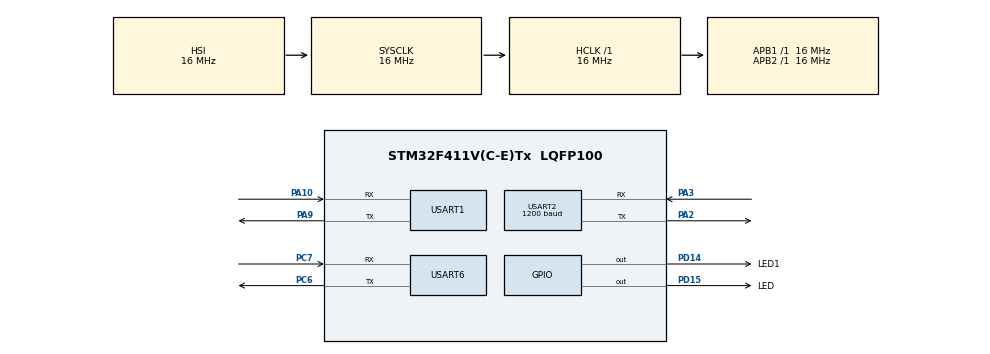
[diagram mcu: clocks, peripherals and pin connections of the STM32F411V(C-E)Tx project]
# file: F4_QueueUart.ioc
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Mcu.Family=STM32F4
Mcu.Name=STM32F411V(C-E)Tx
Mcu.Package=LQFP100
NVIC.PriorityGroup=NVIC_PRIORITYGROUP_4
NVIC.TIM5_IRQn=true\:0\:0\:false\:false\:true\:false\:true
NVIC.TimeBase=TIM5_IRQn
NVIC.TimeBaseIP=TIM5
NVIC.USART1_IRQn=true\:6\:0\:true\:false\:true\:true\:true
NVIC.USART6_IRQn=true\:7\:0\:true\:false\:true\:true\:true
PA10.Mode=Asynchronous
PA10.Signal=USART1_RX
PA13.Mode=Serial_Wire
PA13.Signal=SYS_JTMS-SWDIO
PA14.Mode=Serial_Wire
PA14.Signal=SYS_JTCK-SWCLK
PA2.Mode=Asynchronous
PA2.Signal=USART2_TX
PA3.Mode=Asynchronous
PA3.Signal=USART2_RX
PA9.Mode=Asynchronous
PA9.Signal=USART1_TX
PC6.Mode=Asynchronous
PC6.Signal=USART6_TX
PC7.Mode=Asynchronous
PC7.Signal=USART6_RX
PD14.GPIO_Label=LED1
PD14.Signal=GPIO_Output
PD15.GPIO_Label=LED
PD15.GPIO_PuPd=GPIO_PULLUP
PD15.Signal=GPIO_Output
ProjectManager.HeapSize=0x200
ProjectManager.StackSize=0x400
ProjectManager.TargetToolchain=STM32CubeIDE
RCC.AHBFreq_Value=16000000
RCC.APB1Freq_Value=16000000
RCC.APB2Freq_Value=16000000
RCC.CortexFreq_Value=16000000
RCC.HSE_VALUE=25000000
RCC.HSI_VALUE=16000000
RCC.LSE_VALUE=32768
RCC.SYSCLKFreq_VALUE=16000000
RCC.VCOOutputFreq_Value=192000000
USART1.VirtualMode=VM_ASYNC
USART2.BaudRate=1200
USART2.VirtualMode=VM_ASYNC
USART6.VirtualMode=VM_ASYNC
VP_SYS_VS_tim5.Mode=TIM5
board=custom

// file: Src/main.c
/* USER CODE BEGIN Header */
/**
 ******************************************************************************
 * @file           : main.c
 * @brief          : Main program body
 ******************************************************************************
 * @attention
 *
 * <h2><center>&copy; Copyright (c) 2023 STMicroelectronics.
 * All rights reserved.</center></h2>
 *
 * This software component is licensed by ST under BSD 3-Clause license,
 * the "License"; You may not use this file except in compliance with the
 * License. You may obtain a copy of the License at:
 *                        opensource.org/licenses/BSD-3-Clause
 *
 ******************************************************************************
 */
/* USER CODE END Header */

#include "main.h"

UART_HandleTypeDef huart1;
UART_HandleTypeDef huart2;
UART_HandleTypeDef huart6;

/* USER CODE BEGIN PV */

xTaskHandle handle_print_task;
xTaskHandle handle_led_task;
xTaskHandle handle_receive_uart1;
xTaskHandle handle_receive_uart6;
xTaskHandle toggleled;

QueueHandle_t queue_print;
SemaphoreHandle_t xsemaphore_led;
SemaphoreHandle_t xsemaphore_uart1;
SemaphoreHandle_t xsemaphore_uart6;
// #define size 50

uint8_t data[50];

uint8_t data_byte1;
uint8_t data_byte6;

// uint32_t count_size6 = 0;
// uint32_t count_size1 = 0;

/* USER CODE END PV */

void SystemClock_Config(void);
static void MX_GPIO_Init(void);
static void MX_USART1_UART_Init(void);
static void MX_USART2_UART_Init(void);
static void MX_USART6_UART_Init(void);

int main(void)
{
  /* USER CODE BEGIN 1 */
  BaseType_t status;
  /* USER CODE END 1 */

  /* MCU Configuration--------------------------------------------------------*/

  /* Reset of all peripherals, Initializes the Flash interface and the Systick. */
  HAL_Init();

  /* Configure the system clock */
  SystemClock_Config();

  /* Initialize all configured peripherals */
  MX_GPIO_Init();
  MX_USART1_UART_Init();
  MX_USART2_UART_Init();
  MX_USART6_UART_Init();
  /* USER CODE BEGIN 2 */
  status = xTaskCreate(toggle_led, "toggleled", 100, NULL, 1, &toggleled);
  configASSERT(status == pdPASS);

  status = xTaskCreate(print_task, "print_task", 400, NULL, 2, &handle_print_task);

  configASSERT(status == pdPASS);

  status = xTaskCreate(led_task, "led-task", 200, NULL, 3, &handle_led_task);
  queue_print = xQueueCreate(20, sizeof(data));
  configASSERT(queue_print != NULL);

  status = xTaskCreate(receive_uart1, "receive_uart1", 400, NULL, 4, &handle_receive_uart1);
  configASSERT(status == pdPASS);

  status = xTaskCreate(receive_uart6, "receive_uart6", 400, NULL, 4, &handle_receive_uart6);
  configASSERT(status == pdPASS);

  xsemaphore_led = xSemaphoreCreateBinary();
  xsemaphore_uart1 = xSemaphoreCreateBinary();
  xsemaphore_uart6 = xSemaphoreCreateBinary();

  // run scheduler

  // memset(data6,0,sizeof(data6));
  HAL_UART_Receive_IT(&huart1, &data_byte1, 1);
  HAL_UART_Receive_IT(&huart6, &data_byte6, 1);

  xSemaphoreTake(xsemaphore_led, portMAX_DELAY);
  xSemaphoreTake(xsemaphore_uart1, portMAX_DELAY);
  xSemaphoreTake(xsemaphore_uart6, portMAX_DELAY);

  vTaskStartScheduler();
  /* USER CODE END 2 */

  /* Infinite loop */
  while (1)
  {

  }
}

void SystemClock_Config(void)
{
  RCC_OscInitTypeDef RCC_OscInitStruct = {0};
  RCC_ClkInitTypeDef RCC_ClkInitStruct = {0};

  /** Configure the main internal regulator output voltage
   */
  __HAL_RCC_PWR_CLK_ENABLE();
  __HAL_PWR_VOLTAGESCALING_CONFIG(PWR_REGULATOR_VOLTAGE_SCALE1);
  /** Initializes the CPU, AHB and APB busses clocks
   */
  RCC_OscInitStruct.OscillatorType = RCC_OSCILLATORTYPE_HSI;
  RCC_OscInitStruct.HSIState = RCC_HSI_ON;
  RCC_OscInitStruct.HSICalibrationValue = RCC_HSICALIBRATION_DEFAULT;
  RCC_OscInitStruct.PLL.PLLState = RCC_PLL_NONE;
  if (HAL_RCC_OscConfig(&RCC_OscInitStruct) != HAL_OK)
  {
    Error_Handler();
  }
  /** Initializes the CPU, AHB and APB busses clocks
   */
  RCC_ClkInitStruct.ClockType = RCC_CLOCKTYPE_HCLK | RCC_CLOCKTYPE_SYSCLK | RCC_CLOCKTYPE_PCLK1 | RCC_CLOCKTYPE_PCLK2;
  RCC_ClkInitStruct.SYSCLKSource = RCC_SYSCLKSOURCE_HSI;
  RCC_ClkInitStruct.AHBCLKDivider = RCC_SYSCLK_DIV1;
  RCC_ClkInitStruct.APB1CLKDivider = RCC_HCLK_DIV1;
  RCC_ClkInitStruct.APB2CLKDivider = RCC_HCLK_DIV1;

  if (HAL_RCC_ClockConfig(&RCC_ClkInitStruct, FLASH_LATENCY_0) != HAL_OK)
  {
    Error_Handler();
  }
}

static void MX_USART1_UART_Init(void)
{

  huart1.Instance = USART1;
  huart1.Init.BaudRate = 115200;
  huart1.Init.WordLength = UART_WORDLENGTH_8B;
  huart1.Init.StopBits = UART_STOPBITS_1;
  huart1.Init.Parity = UART_PARITY_NONE;
  huart1.Init.Mode = UART_MODE_TX_RX;
  huart1.Init.HwFlowCtl = UART_HWCONTROL_NONE;
  huart1.Init.OverSampling = UART_OVERSAMPLING_16;
  if (HAL_UART_Init(&huart1) != HAL_OK)
  {
    Error_Handler();
  }
}

static void MX_USART2_UART_Init(void)
{

  huart2.Instance = USART2;
  huart2.Init.BaudRate = 1200;
  huart2.Init.WordLength = UART_WORDLENGTH_8B;
  huart2.Init.StopBits = UART_STOPBITS_1;
  huart2.Init.Parity = UART_PARITY_NONE;
  huart2.Init.Mode = UART_MODE_TX_RX;
  huart2.Init.HwFlowCtl = UART_HWCONTROL_NONE;
  huart2.Init.OverSampling = UART_OVERSAMPLING_16;
  if (HAL_UART_Init(&huart2) != HAL_OK)
  {
    Error_Handler();
  }
}

static void MX_USART6_UART_Init(void)
{

  huart6.Instance = USART6;
  huart6.Init.BaudRate = 115200;
  huart6.Init.WordLength = UART_WORDLENGTH_8B;
  huart6.Init.StopBits = UART_STOPBITS_1;
  huart6.Init.Parity = UART_PARITY_NONE;
  huart6.Init.Mode = UART_MODE_TX_RX;
  huart6.Init.HwFlowCtl = UART_HWCONTROL_NONE;
  huart6.Init.OverSampling = UART_OVERSAMPLING_16;
  if (HAL_UART_Init(&huart6) != HAL_OK)
  {
    Error_Handler();
  }
}

static void MX_GPIO_Init(void)
{
  GPIO_InitTypeDef GPIO_InitStruct = {0};

  /* GPIO Ports Clock Enable */
  __HAL_RCC_GPIOA_CLK_ENABLE();
  __HAL_RCC_GPIOD_CLK_ENABLE();
  __HAL_RCC_GPIOC_CLK_ENABLE();

  /*Configure GPIO pin Output Level */
  HAL_GPIO_WritePin(GPIOD, LED1_Pin | LED_Pin, GPIO_PIN_RESET);

  /*Configure GPIO pin : LED1_Pin */
  GPIO_InitStruct.Pin = LED1_Pin;
  GPIO_InitStruct.Mode = GPIO_MODE_OUTPUT_PP;
  GPIO_InitStruct.Pull = GPIO_NOPULL;
  GPIO_InitStruct.Speed = GPIO_SPEED_FREQ_LOW;
  HAL_GPIO_Init(LED1_GPIO_Port, &GPIO_InitStruct);

  /*Configure GPIO pin : LED_Pin */
  GPIO_InitStruct.Pin = LED_Pin;
  GPIO_InitStruct.Mode = GPIO_MODE_OUTPUT_PP;
  GPIO_InitStruct.Pull = GPIO_PULLUP;
  GPIO_InitStruct.Speed = GPIO_SPEED_FREQ_LOW;
  HAL_GPIO_Init(LED_GPIO_Port, &GPIO_InitStruct);
}

/* USER CODE BEGIN 4 */
void HAL_UART_RxCpltCallback(UART_HandleTypeDef *huart)
{
  portBASE_TYPE xHigherPriorityTaskWoken = pdFALSE;
  if (huart->Instance == USART1)
  {
    xSemaphoreGiveFromISR(xsemaphore_uart1, &xHigherPriorityTaskWoken);
  }
  else if (huart->Instance == USART6)
  {
    xSemaphoreGiveFromISR(xsemaphore_uart6, &xHigherPriorityTaskWoken);
  }

  portEND_SWITCHING_ISR(xHigherPriorityTaskWoken);
}

/* USER CODE END 4 */

void HAL_TIM_PeriodElapsedCallback(TIM_HandleTypeDef *htim)
{
  if (htim->Instance == TIM5)
  {
    HAL_IncTick();
  }
}

void Error_Handler(void)
{
}

/************************ (C) COPYRIGHT STMicroelectronics *****END OF FILE****/
